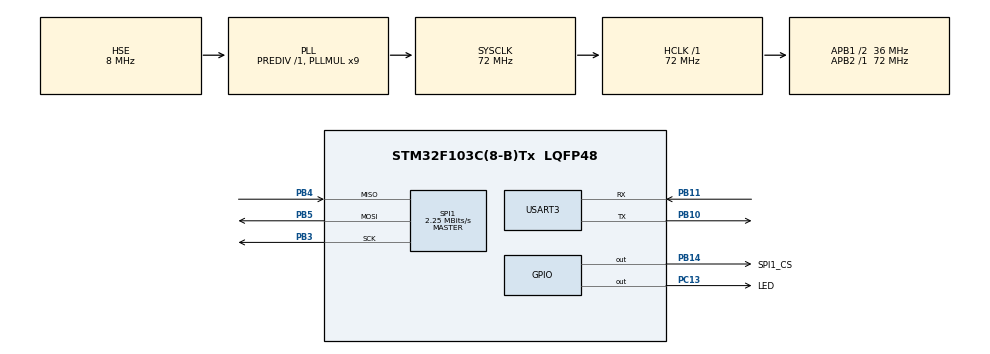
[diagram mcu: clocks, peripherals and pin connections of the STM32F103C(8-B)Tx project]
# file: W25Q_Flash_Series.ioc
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Mcu.Family=STM32F1
Mcu.Name=STM32F103C(8-B)Tx
Mcu.Package=LQFP48
NVIC.PriorityGroup=NVIC_PRIORITYGROUP_4
PA13.Mode=Serial_Wire
PA13.Signal=SYS_JTMS-SWDIO
PA14.Mode=Serial_Wire
PA14.Signal=SYS_JTCK-SWCLK
PB10.Mode=Asynchronous
PB10.Signal=USART3_TX
PB11.Mode=Asynchronous
PB11.Signal=USART3_RX
PB14.GPIO_Label=SPI1_CS
PB14.GPIO_Speed=GPIO_SPEED_FREQ_HIGH
PB14.PinState=GPIO_PIN_SET
PB14.Signal=GPIO_Output
PB3.Mode=Full_Duplex_Master
PB3.Signal=SPI1_SCK
PB4.Mode=Full_Duplex_Master
PB4.Signal=SPI1_MISO
PB5.Mode=Full_Duplex_Master
PB5.Signal=SPI1_MOSI
PC13-TAMPER-RTC.GPIO_Label=LED
PC13-TAMPER-RTC.GPIO_Speed=GPIO_SPEED_FREQ_HIGH
PC13-TAMPER-RTC.PinState=GPIO_PIN_SET
PC13-TAMPER-RTC.Signal=GPIO_Output
PD0-OSC_IN.Mode=HSE-External-Oscillator
PD0-OSC_IN.Signal=RCC_OSC_IN
PD1-OSC_OUT.Mode=HSE-External-Oscillator
PD1-OSC_OUT.Signal=RCC_OSC_OUT
ProjectManager.HeapSize=0x200
ProjectManager.StackSize=0x400
ProjectManager.TargetToolchain=STM32CubeIDE
RCC.AHBFreq_Value=72000000
RCC.APB1CLKDivider=RCC_HCLK_DIV2
RCC.APB1Freq_Value=36000000
RCC.APB1TimFreq_Value=72000000
RCC.APB2Freq_Value=72000000
RCC.APB2TimFreq_Value=72000000
RCC.HCLKFreq_Value=72000000
RCC.PLLMUL=RCC_PLL_MUL9
RCC.PLLSourceVirtual=RCC_PLLSOURCE_HSE
RCC.SYSCLKFreq_VALUE=72000000
RCC.SYSCLKSource=RCC_SYSCLKSOURCE_PLLCLK
RCC.USBFreq_Value=72000000
SPI1.BaudRatePrescaler=SPI_BAUDRATEPRESCALER_32
SPI1.CalculateBaudRate=2.25 MBits/s
SPI1.Direction=SPI_DIRECTION_2LINES
SPI1.Mode=SPI_MODE_MASTER
SPI1.VirtualType=VM_MASTER
USART3.VirtualMode=VM_ASYNC
board=custom

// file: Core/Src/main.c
/* USER CODE BEGIN Header */
/**
  ******************************************************************************
  * @file           : main.c
  * @brief          : Main program body
  ******************************************************************************
  * @attention
  *
  * <h2><center>&copy; Copyright (c) 2025 STMicroelectronics.
  * All rights reserved.</center></h2>
  *
  * This software component is licensed by ST under BSD 3-Clause license,
  * the "License"; You may not use this file except in compliance with the
  * License. You may obtain a copy of the License at:
  *                        opensource.org/licenses/BSD-3-Clause
  *
  ******************************************************************************
  */
/* USER CODE END Header */
#include "main.h"
#include "spi.h"
#include "usart.h"
#include "gpio.h"

/* USER CODE BEGIN Includes */
#include "W25Qxx.h"
#include "stdio.h"
#include "string.h"

/* USER CODE END Includes */

/* USER CODE BEGIN PD */
#define rSIZE 512
#define tSIZE 256
/* USER CODE END PD */

/* USER CODE BEGIN PV */
//SPI_HandleTypeDef hspi1;

/* USER CODE END PV */

void SystemClock_Config(void);

/* USER CODE BEGIN 0 */

uint8_t RxData[rSIZE] = {0};

uint8_t TxData[tSIZE] = {0};		// data to be send
int indx = 0;

float tNum = -12.35;
float rNum = 0;
uint32_t tData32[4] = {0x12 , 0x1234 , 0x12345678 , 0xABCDEF};
uint32_t rData32[4];
/*
int isPressed = 0;

void HAL_GPIO_EXTI_Callback(uint16_t GPIO_Pin)
{
	isPressed = 1;
}
*/
/* USER CODE END 0 */

int main(void)
{

  /* MCU Configuration--------------------------------------------------------*/

  /* Reset of all peripherals, Initializes the Flash interface and the Systick. */
  HAL_Init();

  /* Configure the system clock */
  SystemClock_Config();

  /* Initialize all configured peripherals */
  MX_GPIO_Init();
  MX_SPI1_Init();
  MX_USART3_UART_Init();
  /* USER CODE BEGIN 2 */

//  HAL_GPIO_WritePin (GPIOB, GPIO_PIN_14, GPIO_PIN_SET);
//  HAL_Delay(1);

  W25Q_Init();
//  W25Q_Erase_Sector (0);
  W25Q_Read(0, 0, 256, RxData);
/*
  // write and read numbers
  W25Q_Write_NUM(0, 10, tNum);
  rNum = W25Q_Read_NUM(0, 10);

  // write and read arrays
  W25Q_Write_32B_Array(0, 250, 4, tData32);
  W25Q_Read_32B_Array (0, 250, 4, rData32);

  W25Q_Erase_Chip ();
*/
  /* USER CODE END 2 */

  /* Infinite loop */
  /* USER CODE BEGIN WHILE */
  while (0)
  {
    /* USER CODE END WHILE */

  }
}

void SystemClock_Config(void)
{
  RCC_OscInitTypeDef RCC_OscInitStruct = {0};
  RCC_ClkInitTypeDef RCC_ClkInitStruct = {0};

  /** Initializes the RCC Oscillators according to the specified parameters
  * in the RCC_OscInitTypeDef structure.
  */
  RCC_OscInitStruct.OscillatorType = RCC_OSCILLATORTYPE_HSE;
  RCC_OscInitStruct.HSEState = RCC_HSE_ON;
  RCC_OscInitStruct.HSEPredivValue = RCC_HSE_PREDIV_DIV1;
  RCC_OscInitStruct.HSIState = RCC_HSI_ON;
  RCC_OscInitStruct.PLL.PLLState = RCC_PLL_ON;
  RCC_OscInitStruct.PLL.PLLSource = RCC_PLLSOURCE_HSE;
  RCC_OscInitStruct.PLL.PLLMUL = RCC_PLL_MUL9;
  if (HAL_RCC_OscConfig(&RCC_OscInitStruct) != HAL_OK)
  {
    Error_Handler();
  }

  /** Initializes the CPU, AHB and APB buses clocks
  */
  RCC_ClkInitStruct.ClockType = RCC_CLOCKTYPE_HCLK|RCC_CLOCKTYPE_SYSCLK
                              |RCC_CLOCKTYPE_PCLK1|RCC_CLOCKTYPE_PCLK2;
  RCC_ClkInitStruct.SYSCLKSource = RCC_SYSCLKSOURCE_PLLCLK;
  RCC_ClkInitStruct.AHBCLKDivider = RCC_SYSCLK_DIV1;
  RCC_ClkInitStruct.APB1CLKDivider = RCC_HCLK_DIV2;
  RCC_ClkInitStruct.APB2CLKDivider = RCC_HCLK_DIV1;

  if (HAL_RCC_ClockConfig(&RCC_ClkInitStruct, FLASH_LATENCY_2) != HAL_OK)
  {
    Error_Handler();
  }
}

void Error_Handler(void)
{
  __disable_irq();
  while (1)
  {
  }
}
